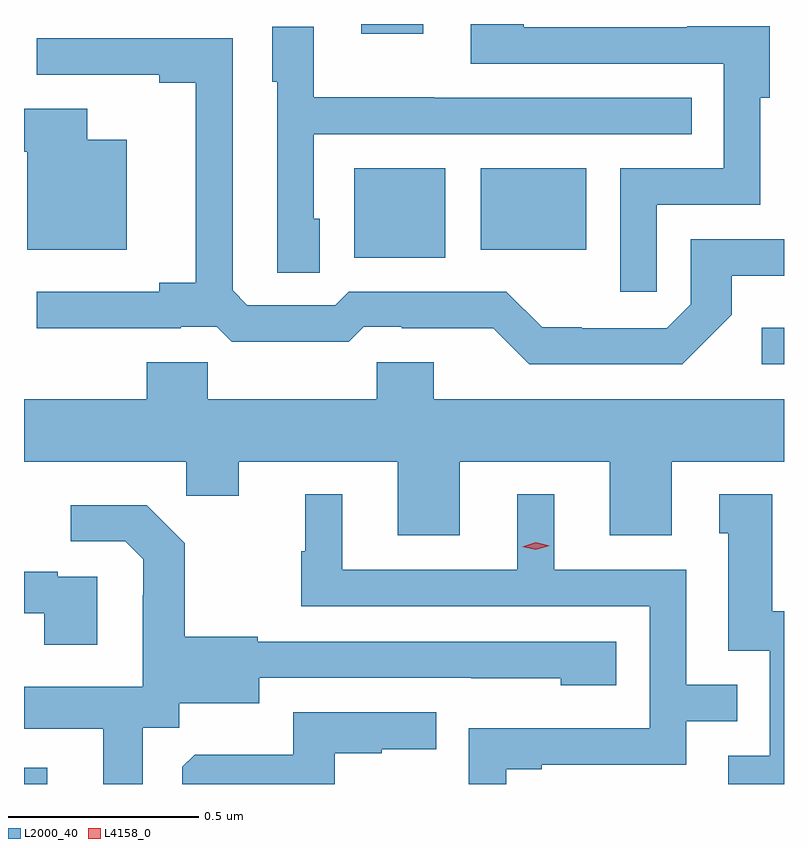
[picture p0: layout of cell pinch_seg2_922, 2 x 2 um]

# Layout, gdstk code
import gdstk
lib = gdstk.Library(unit=1e-6, precision=1e-09)
def R(c, l, rs):  # rectangles x0, y0, x1, y1
    for r in rs: c.add(gdstk.rectangle(r[:2], r[2:], *l))
def P(c, l, *ps):  # polygons
    for p in ps: c.add(gdstk.Polygon(p, *l))
L2000_40 = (2000, 40)
L4158_0 = (4158, 0)

pinch_seg2_922 = lib.new_cell('pinch_seg2_922')
R(pinch_seg2_922, L2000_40, [(455.49,641.46,455.551,641.503), (457.431,642.564,457.49,642.661), (456.359,642.845,456.598,643.081), (456.692,642.866,456.97,643.081), (456.377,643.434,456.541,643.46)])
P(pinch_seg2_922, L2000_40, [(457.155,642.984),(457.428,642.984),(457.428,643.266),(457.453,643.266),(457.453,643.454),(457.235,643.454),(457.235,643.452),(456.805,643.452),(456.805,643.46),(456.665,643.46),(456.665,643.356),(457.332,643.356),(457.332,643.08),(457.059,643.08),(457.059,642.756),(457.155,642.756)],
  [(456.268,642.948),(456.252,642.948),(456.252,643.17),(457.247,643.17),(457.247,643.266),(456.569,643.266),(456.569,643.267),(456.252,643.267),(456.252,643.453),(456.143,643.453),(456.143,643.308),(456.156,643.308),(456.156,642.805),(456.268,642.805)],
  [(457.353,642.695),(457.353,642.797),(457.49,642.797),(457.49,642.894),(457.245,642.894),(457.245,642.723),(457.182,642.66),(456.958,642.66),(456.958,642.662),(456.854,642.662),(456.759,642.756),(456.345,642.756),(456.309,642.72),(456.078,642.72),(456.039,642.759),(456.039,643.422),(455.523,643.422),(455.523,643.326),(455.846,643.326),(455.846,643.306),(455.942,643.306),(455.942,642.779),(455.846,642.779),(455.846,642.756),(455.523,642.756),(455.523,642.659),(455.903,642.659),(455.903,642.663),(455.997,642.663),(456.037,642.624),(456.345,642.624),(456.384,642.663),(456.484,642.663),(456.484,642.659),(456.725,642.659),(456.819,642.564),(457.222,642.564)],
  [(455.761,643.156),(455.656,643.156),(455.656,643.237),(455.49,643.237),(455.49,643.124),(455.498,643.124),(455.498,642.866),(455.761,642.866)],
  [(456.637,642.308),(457.031,642.308),(457.031,642.114),(457.195,642.114),(457.195,642.308),(457.49,642.308),(457.49,642.472),(456.568,642.472),(456.568,642.57),(456.418,642.57),(456.418,642.472),(455.973,642.472),(455.973,642.57),(455.813,642.57),(455.813,642.472),(455.49,642.472),(455.49,642.308),(455.917,642.308),(455.917,642.218),(456.055,642.218),(456.055,642.308),(456.473,642.308),(456.473,642.114),(456.637,642.114)],
  [(457.49,641.915),(457.459,641.915),(457.459,642.223),(457.319,642.223),(457.319,642.12),(457.343,642.12),(457.343,641.811),(457.452,641.811),(457.452,641.535),(457.343,641.535),(457.343,641.46),(457.49,641.46)],
  [(456.759,641.499),(456.853,641.499),(456.853,641.511),(457.233,641.511),(457.233,641.625),(457.367,641.625),(457.367,641.721),(457.233,641.721),(457.233,642.024),(456.886,642.024),(456.886,642.223),(456.788,642.223),(456.788,642.024),(456.328,642.024),(456.328,642.223),(456.23,642.223),(456.23,642.072),(456.219,642.072),(456.219,641.928),(457.137,641.928),(457.137,641.607),(456.66,641.607),(456.66,641.46),(456.759,641.46)],
  [(455.803,641.608),(455.898,641.608),(455.898,641.672),(456.109,641.672),(456.109,641.739),(456.667,641.739),(456.667,641.738),(456.903,641.738),(456.903,641.72),(457.048,641.72),(457.048,641.835),(456.105,641.835),(456.105,641.848),(455.913,641.848),(455.913,642.093),(455.813,642.193),(455.613,642.193),(455.613,642.099),(455.757,642.099),(455.804,642.052),(455.804,641.957),(455.802,641.957),(455.802,641.716),(455.49,641.716),(455.49,641.606),(455.699,641.606),(455.699,641.46),(455.803,641.46)],
  [(455.683,642.006),(455.579,642.006),(455.579,642.019),(455.49,642.019),(455.49,641.91),(455.543,641.91),(455.543,641.826),(455.683,641.826)],
  [(456.308,641.541),(456.431,641.541),(456.431,641.552),(456.575,641.552),(456.575,641.649),(456.198,641.649),(456.198,641.537),(455.939,641.537),(455.907,641.505),(455.907,641.46),(456.308,641.46)])
P(pinch_seg2_922, L4158_0, [(456.837,642.076),(456.801,642.084),(456.801,642.084),(456.801,642.084),(456.837,642.096),(456.873,642.087),(456.873,642.087),(456.873,642.087)])

lib.write_gds('pinch_seg2_922.gds')
